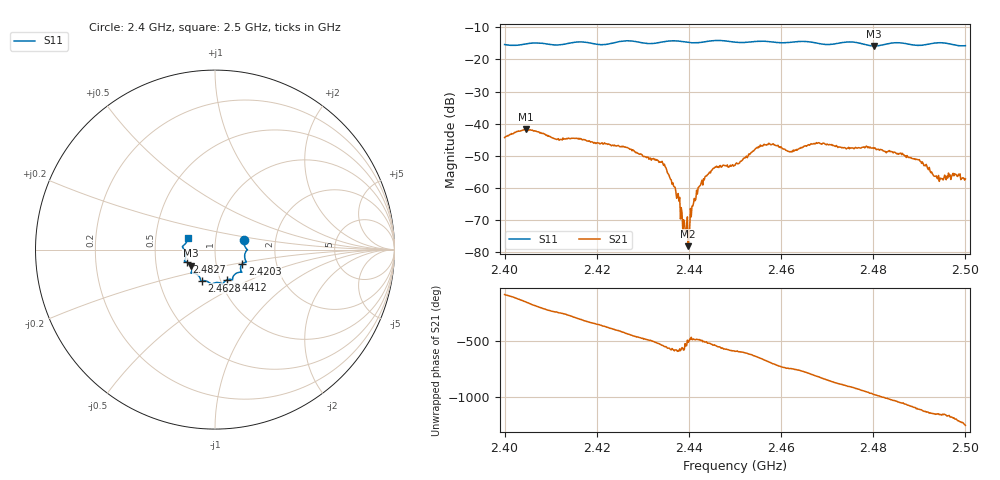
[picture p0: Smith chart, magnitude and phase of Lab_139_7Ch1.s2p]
# Hz S RI R 50
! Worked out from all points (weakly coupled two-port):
!   601 points, 2.4 GHz to 2.5 GHz, reference 50 ohm
!   highest |S21| = -41.75 dB at 2.4047 GHz (marker M1); lowest = -78.2 dB at 2.4398 GHz (marker M2)
!   lowest |S11| = -15.8 dB at 2.4802 GHz (marker M3), VSWR 1.39, Z = 37.5 - j6.91 ohm
!   |S11| at or under -10 dB: start of sweep to end of sweep
!   S12 and S22 are empty: the file has one direction only
!   S11 on the Smith chart (normalised r, x): 2.4 GHz: 1.38, +0.15; 2.4203 GHz: 1.34, -0.22; 2.4412 GHz: 1.08, -0.38; 2.4628 GHz: 0.82, -0.29; 2.4827 GHz: 0.72, -0.10; 2.5 GHz: 0.73, +0.10
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2.4e9  0.1621 0.053  0.000317 -0.00606  0 0  0 0
2.404667e9  0.1749 0.00467  -0.00738 -0.00351  0 0  0 0
2.416667e9  0.1744 -0.0696  0.00358 0.00456  0 0  0 0
2.420333e9  0.1521 -0.0792  0.00497 0.000574  0 0  0 0
2.433333e9  0.0999 -0.1522  -0.00252 -0.000877  0 0  0 0
2.435167e9  0.0978 -0.1653  -0.00186 0.000459  0 0  0 0
2.4375e9  0.0967 -0.1682  -0.000463 0.000576  0 0  0 0
2.439e9  0.0891 -0.1657  -0.00024 0.000176  0 0  0 0
2.439833e9  0.0822 -0.1652  -0.000108 -5.91e-05  0 0  0 0
2.441167e9  0.0685 -0.1681  -0.000397 -0.000557  0 0  0 0
2.4425e9  0.056 -0.1755  -0.000756 -0.000793  0 0  0 0
2.445333e9  0.0432 -0.1916  -0.00202 -0.000144  0 0  0 0
2.45e9  0.0246 -0.1845  -0.00141 0.00175  0 0  0 0
2.456e9  -0.0199 -0.1915  0.00225 0.00386  0 0  0 0
2.462833e9  -0.0718 -0.1733  0.00329 -0.00181  0 0  0 0
2.466667e9  -0.0805 -0.1678  0.00119 -0.00467  0 0  0 0
2.480167e9  -0.1355 -0.0896  -0.00116 0.00393  0 0  0 0
2.482667e9  -0.1576 -0.0705  0.00103 0.00353  0 0  0 0
2.483333e9  -0.1631 -0.0684  0.00144 0.00348  0 0  0 0
2.489833e9  -0.164 -0.0238  0.00251 -0.00108  0 0  0 0
2.494333e9  -0.1818 0.0157  0.000375 -0.0012  0 0  0 0
2.5e9  -0.1508 0.0646  -0.00135 -0.00028  0 0  0 0
